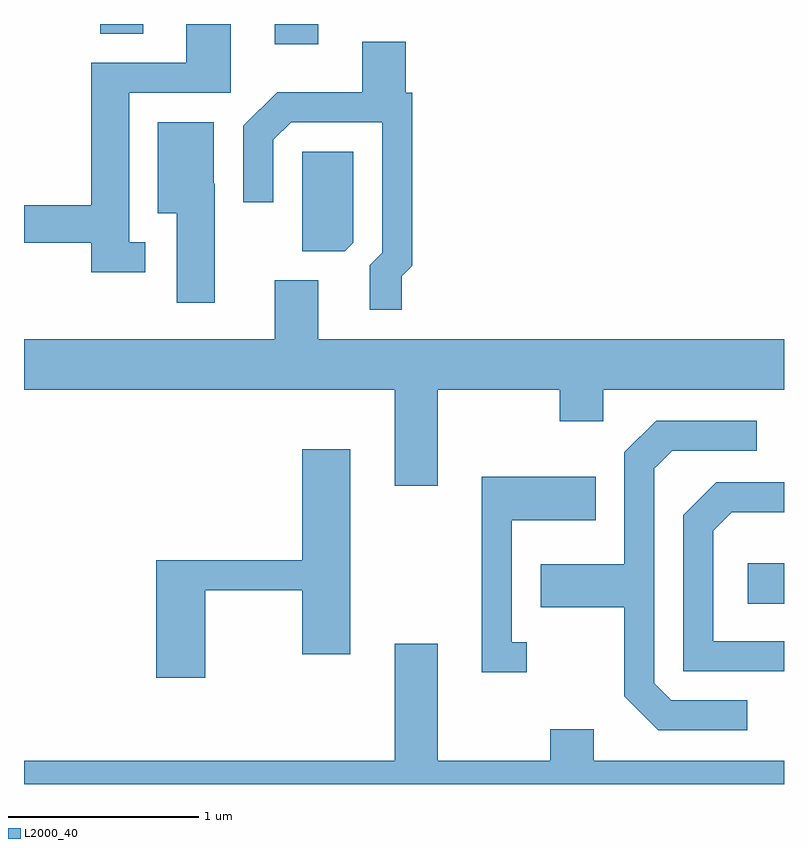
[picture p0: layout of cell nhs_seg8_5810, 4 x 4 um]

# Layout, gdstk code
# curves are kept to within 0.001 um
import gdstk
lib = gdstk.Library(unit=1e-6, precision=1e-09)
def R(c, l, rs):  # rectangles x0, y0, x1, y1
    for r in rs: c.add(gdstk.rectangle(r[:2], r[2:], *l))
def P(c, l, *ps):  # polygons
    for p in ps: c.add(gdstk.Polygon(p, *l))
L2000_40 = (2000, 40)

nhs_seg8_5810 = lib.new_cell('nhs_seg8_5810')
R(nhs_seg8_5810, L2000_40, [(363.421,1835.291,363.611,1835.504), (360.931,1838.236,361.159,1838.342), (360.011,1838.291,360.239,1838.342)])
P(nhs_seg8_5810, L2000_40, [(360.248,1837.194),(360.164,1837.194),(360.164,1837.981),(360.699,1837.981),(360.699,1838.342),(360.466,1838.342),(360.466,1838.139),(359.966,1838.139),(359.966,1837.389),(359.611,1837.389),(359.611,1837.191),(359.966,1837.191),(359.966,1837.036),(360.248,1837.036)],
  [(361.599,1837.014),(361.654,1837.069),(361.654,1837.979),(361.619,1837.979),(361.619,1838.249),(361.391,1838.249),(361.391,1837.984),(360.944,1837.984),(360.766,1837.807),(360.766,1837.403),(360.924,1837.403),(360.924,1837.734),(361.017,1837.826),(361.496,1837.826),(361.496,1837.137),(361.431,1837.072),(361.431,1836.838),(361.599,1836.838)],
  [(360.614,1837.5),(360.609,1837.5),(360.609,1837.824),(360.316,1837.824),(360.316,1837.346),(360.416,1837.346),(360.416,1836.876),(360.614,1836.876)],
  [(361.344,1837.192),(361.344,1837.669),(361.076,1837.669),(361.076,1837.146),(361.299,1837.146)],
  [(361.789,1836.416),(362.431,1836.416),(362.431,1836.251),(362.659,1836.251),(362.659,1836.416),(363.611,1836.416),(363.611,1836.684),(361.159,1836.684),(361.159,1836.994),(360.931,1836.994),(360.931,1836.684),(359.611,1836.684),(359.611,1836.416),(361.561,1836.416),(361.561,1835.911),(361.789,1835.911)],
  [(363.418,1834.784),(363.017,1834.784),(362.929,1834.872),(362.929,1836.004),(363.022,1836.096),(363.468,1836.096),(363.468,1836.254),(362.939,1836.254),(362.771,1836.087),(362.771,1835.499),(362.331,1835.499),(362.331,1835.271),(362.771,1835.271),(362.771,1834.804),(362.949,1834.626),(363.418,1834.626)],
  [(360.564,1835.361),(361.076,1835.361),(361.076,1835.026),(361.329,1835.026),(361.329,1836.104),(361.076,1836.104),(361.076,1835.519),(360.306,1835.519),(360.306,1834.901),(360.564,1834.901)],
  [(362.258,1835.089),(362.179,1835.089),(362.179,1835.731),(362.619,1835.731),(362.619,1835.959),(362.021,1835.959),(362.021,1834.931),(362.258,1834.931)],
  [(363.611,1835.094),(363.239,1835.094),(363.239,1835.674),(363.337,1835.771),(363.611,1835.771),(363.611,1835.929),(363.254,1835.929),(363.081,1835.757),(363.081,1834.936),(363.611,1834.936)],
  [(363.611,1834.464),(362.609,1834.464),(362.609,1834.629),(362.381,1834.629),(362.381,1834.464),(361.789,1834.464),(361.789,1835.079),(361.561,1835.079),(361.561,1834.464),(359.611,1834.464),(359.611,1834.342),(363.611,1834.342)])

lib.write_gds('nhs_seg8_5810.gds')
